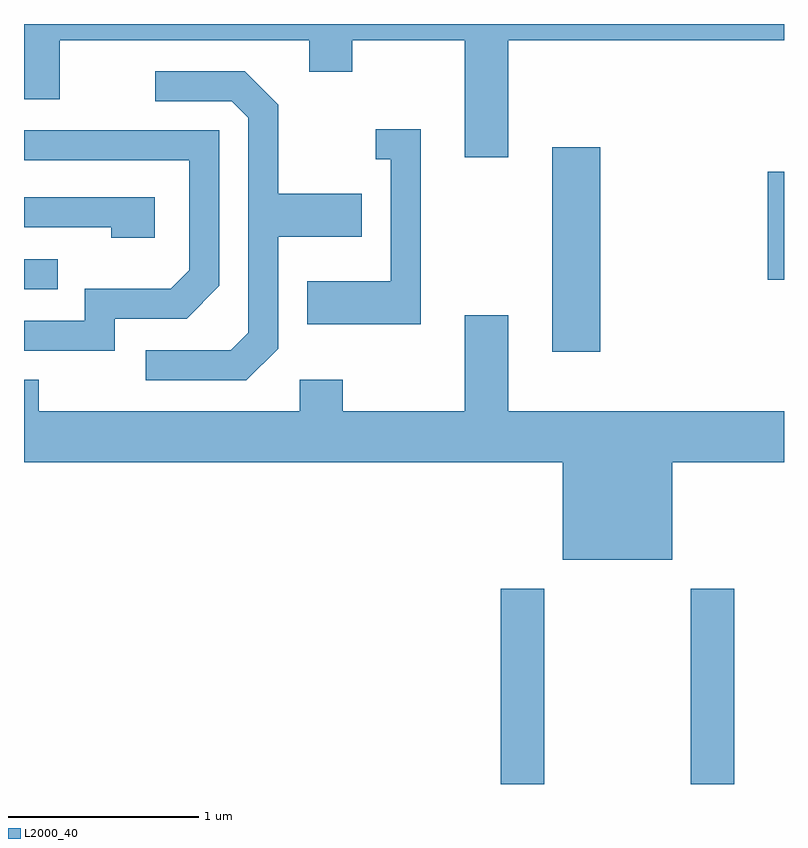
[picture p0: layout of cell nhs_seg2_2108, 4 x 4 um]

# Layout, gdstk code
import gdstk
lib = gdstk.Library(unit=1e-6, precision=1e-09)
def R(c, l, rs):  # rectangles x0, y0, x1, y1
    for r in rs: c.add(gdstk.rectangle(r[:2], r[2:], *l))
def P(c, l, *ps):  # polygons
    for p in ps: c.add(gdstk.Polygon(p, *l))
L2000_40 = (2000, 40)

nhs_seg2_2108 = lib.new_cell('nhs_seg2_2108')
R(nhs_seg2_2108, L2000_40, [(250.121,977.802,250.349,978.829), (251.121,977.802,251.349,978.829), (250.391,980.076,250.644,981.154), (247.611,980.406,247.788,980.564), (251.526,980.456,251.611,981.024)])
P(nhs_seg2_2108, L2000_40, [(247.611,981.406),(247.799,981.406),(247.799,981.716),(249.111,981.716),(249.111,981.551),(249.339,981.551),(249.339,981.716),(249.931,981.716),(249.931,981.101),(250.159,981.101),(250.159,981.716),(251.611,981.716),(251.611,981.802),(247.611,981.802)],
  [(248.949,980.094),(248.949,980.681),(249.389,980.681),(249.389,980.909),(248.949,980.909),(248.949,981.377),(248.772,981.554),(248.303,981.554),(248.303,981.396),(248.704,981.396),(248.791,981.309),(248.791,980.177),(248.699,980.084),(248.253,980.084),(248.253,979.926),(248.782,979.926)],
  [(249.699,981.249),(249.463,981.249),(249.463,981.091),(249.541,981.091),(249.541,980.449),(249.101,980.449),(249.101,980.221),(249.699,980.221)],
  [(248.089,980.251),(248.467,980.251),(248.639,980.424),(248.639,981.244),(247.611,981.244),(247.611,981.086),(248.481,981.086),(248.481,980.507),(248.384,980.409),(247.931,980.409),(247.931,980.239),(247.611,980.239),(247.611,980.081),(248.089,980.081)],
  [(248.299,980.889),(247.611,980.889),(247.611,980.731),(248.071,980.731),(248.071,980.676),(248.299,980.676)],
  [(251.024,979.496),(251.611,979.496),(251.611,979.764),(250.159,979.764),(250.159,980.269),(249.931,980.269),(249.931,979.764),(249.289,979.764),(249.289,979.929),(249.061,979.929),(249.061,979.764),(247.689,979.764),(247.689,979.929),(247.611,979.929),(247.611,979.496),(250.446,979.496),(250.446,978.981),(251.024,978.981)])

lib.write_gds('nhs_seg2_2108.gds')
